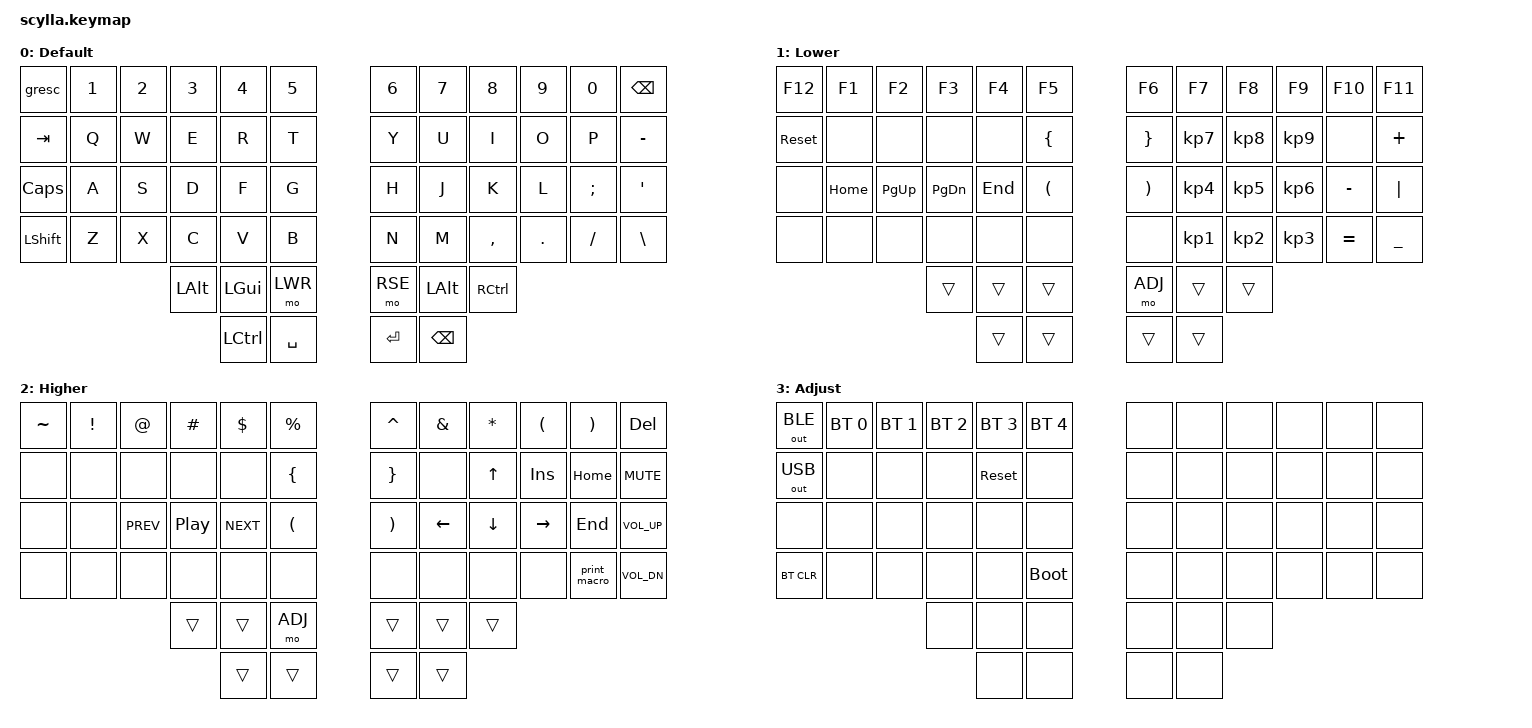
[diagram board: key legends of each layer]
#include <behaviors.dtsi>
#include <dt-bindings/zmk/keys.h>
#include <dt-bindings/zmk/bt.h>
#include <dt-bindings/zmk/outputs.h>
#include <dt-bindings/zmk/rgb.h>

#define DEFAULT 0
#define LWR 1
#define RSE 2
#define ADJ 3

/ {
    macros {
        print_macro: print_macro {
            compatible = "zmk,behavior-macro";
            #binding-cells = <0>;
            bindings
                = <&macro_tap &kp QMARK &kp DQT &kp O &kp T &kp P &kp DQT &kp SPACE &kp O &kp T &kp P>
                , <&macro_tap &kp LEFT &kp LEFT &kp LEFT &kp LEFT &kp LEFT>
                , <&macro_press &kp LSHFT>
                , <&macro_tap &kp LEFT &kp LEFT &kp LEFT>
                , <&macro_release &kp LSHFT>
                , <&macro_press &kp LEFT_CONTROL>
                , <&macro_tap &kp D>
                , <&macro_release &kp LEFT_CONTROL>
                ;
        };
    };
};

/ {
    keymap {
        compatible = "zmk,keymap";

        default_layer {
            display-name = "Default";
            bindings = <
                &gresc         &kp N1  &kp N2    &kp N3       &kp N4           &kp N5                &kp N6  &kp N7       &kp N8  &kp N9    &kp N0   &kp BSPC
                &kp TAB        &kp Q   &kp W     &kp E        &kp R            &kp T                 &kp Y   &kp U        &kp I     &kp O   &kp P    &kp MINUS
                &kp CAPS       &kp A   &kp S     &kp D        &kp F            &kp G                 &kp H   &kp J        &kp K     &kp L   &kp SEMI &kp SQT
                &kp LEFT_SHIFT &kp Z   &kp X     &kp C        &kp V            &kp B                 &kp N   &kp M        &kp COMMA &kp DOT &kp FSLH &kp BSLH
                                                 &kp LEFT_ALT &kp LEFT_GUI     &mo LWR               &mo RSE &kp LEFT_ALT &kp RIGHT_CONTROL
                                                              &kp LEFT_CONTROL &kp SPACE             &kp RET &kp BACKSPACE
            >;
        };

        lower_layer {
            display-name = "Lower";
            bindings = <
                &kp F12    &kp F1   &kp F2    &kp F3     &kp F4    &kp F5               &kp F6    &kp F7    &kp F8    &kp F9    &kp F10   &kp F11
                &sys_reset &none    &none     &none      &none     &kp LBRC             &kp RBRC  &kp KP_N7 &kp KP_N8 &kp KP_N9 &none     &kp PLUS
                &none      &kp HOME &kp PG_UP &kp PG_DN  &kp END   &kp LPAR             &kp RPAR  &kp KP_N4 &kp KP_N5 &kp KP_N6 &kp MINUS &kp PIPE 
                &none      &none    &none     &none      &none     &none                &none     &kp KP_N1 &kp KP_N2 &kp KP_N3 &kp EQUAL &kp UNDER
                                             &trans     &trans     &trans               &mo ADJ   &trans    &trans
                                                        &trans     &trans               &trans    &trans
            >;
        };

        raise_layer {
            display-name = "Higher";
            bindings = <
                &kp TILDE   &kp EXCL &kp AT     &kp HASH         &kp DLLR        &kp PRCNT            &kp CARET &kp AMPS  &kp ASTRK &kp LPAR  &kp RPAR  &kp DEL
                &none       &none    &none      &none            &none           &kp LBRC             &kp RBRC  &none     &kp UP    &kp INS   &kp HOME  &kp C_MUTE
                &none       &none    &kp C_PREV &kp C_PLAY_PAUSE &kp C_NEXT      &kp LPAR             &kp RPAR  &kp LEFT  &kp DOWN  &kp RIGHT &kp END  &kp C_VOL_UP
                &none       &none    &none      &none            &none           &none                &none     &none     &none     &none     &print_macro   &kp C_VOL_DN 
                                                &trans           &trans          &mo ADJ              &trans    &trans    &trans
                                                                 &trans          &trans               &trans    &trans
            >;
        };

        adjust_layer {
            display-name = "Adjust";
            bindings = <
                &out OUT_BLE &bt BT_SEL 0 &bt BT_SEL 1 &bt BT_SEL 2 &bt BT_SEL 3 &bt BT_SEL 4              &none &none &none &none &none &none
                &out OUT_USB &none        &none        &none        &sys_reset   &none                     &none &none &none &none &none &none
                &none        &none        &none        &none        &none        &none                     &none &none &none &none &none &none
                &bt BT_CLR   &none        &none        &none        &none        &bootloader               &none &none &none &none &none &none
                                                       &none        &none        &none                     &none &none &none
                                                                    &none        &none                     &none &none
            >;
        };

        extra {
            display-name = "Extra";
            status = "reserved";
        };
    };
};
